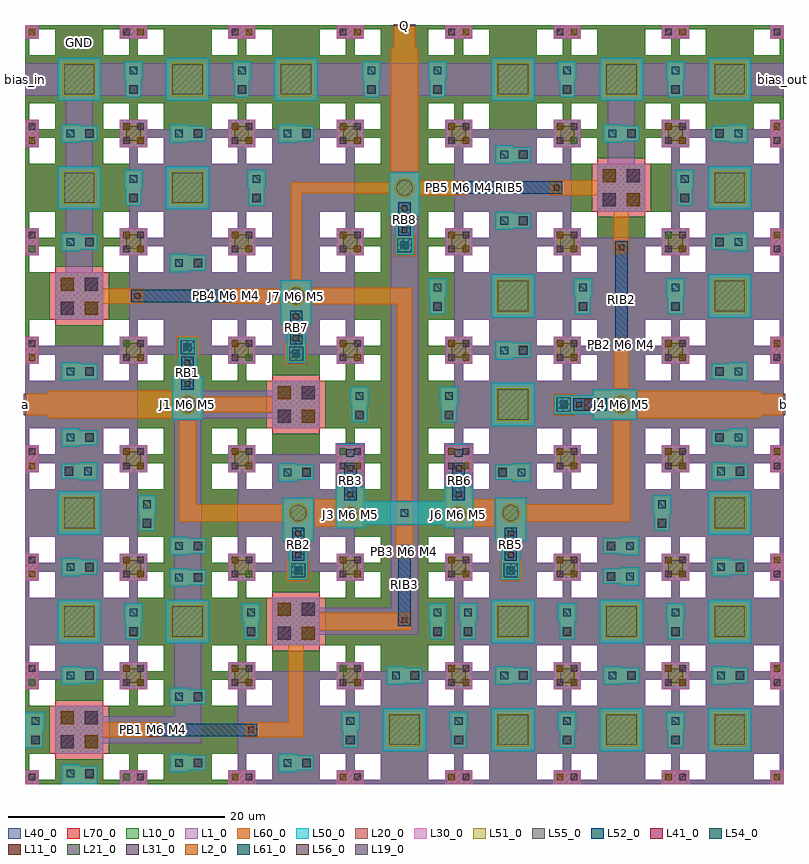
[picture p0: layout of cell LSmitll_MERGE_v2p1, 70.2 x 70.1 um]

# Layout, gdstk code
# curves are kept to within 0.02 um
from math import pi, radians
import gdstk
lib = gdstk.Library(unit=1e-6, precision=1e-09)
def R(c, l, rs):  # rectangles x0, y0, x1, y1
    for r in rs: c.add(gdstk.rectangle(r[:2], r[2:], *l))
def A(c, l, x, y, w, h, nx, ny, dx, dy):  # array of equal rectangles
    R(c, l, [(x+i*dx, y+j*dy, x+i*dx+w, y+j*dy+h) for i in range(nx) for j in range(ny)])
def P(c, l, *ps):  # polygons
    for p in ps: c.add(gdstk.Polygon(p, *l))
L1_0 = (1, 0)
L2_0 = (2, 0)
L10_0 = (10, 0)
L11_0 = (11, 0)
L19_0 = (19, 0)
L20_0 = (20, 0)
L21_0 = (21, 0)
L30_0 = (30, 0)
L31_0 = (31, 0)
L40_0 = (40, 0)
L41_0 = (41, 0)
L50_0 = (50, 0)
L51_0 = (51, 0)
L52_0 = (52, 0)
L54_0 = (54, 0)
L55_0 = (55, 0)
L56_0 = (56, 0)
L60_0 = (60, 0)
L61_0 = (61, 0)
L70_0 = (70, 0)

ls_tr_m0 = lib.new_cell('ls_tr_M0')
P(ls_tr_m0, L1_0, [(0,0),(0,10),(1.25,10),(1.25,8.75),(0.4,8.75),(0.4,1.25),(1.25,1.25),(1.25,0.4),(2.8,0.4),(2.8,2.8),(0.4,2.8),(0.4,7.2),(2.8,7.2),(2.8,9.6),(1.25,9.6),(1.25,10),(7.2,10),(7.2,0.4),(8.75,0.4),(8.75,1.25),(9.6,1.25),(9.6,2.8),(7.2,2.8),(7.2,7.2),(9.6,7.2),(9.6,8.75),(8.75,8.75),(8.75,9.6),(7.2,9.6),(7.2,10),(10,10),(10,0)])

ls_tr_bias_pillar_m0m6 = lib.new_cell('ls_tr_bias_pillar_M0M6')
R(ls_tr_bias_pillar_m0m6, L1_0, [(0,0,1.25,1.25), (8.75,0,10,1.25), (2.8,2.8,7.2,7.2), (0,8.75,1.25,10), (8.75,8.75,10,10)])
R(ls_tr_bias_pillar_m0m6, L2_0, [(5.5,3.3,6.7,4.5), (3.3,5.5,4.5,6.7)])
R(ls_tr_bias_pillar_m0m6, L10_0, [(0,0,1.25,1.25), (8.75,0,10,1.25), (2.8,2.8,7.2,7.2), (0,8.75,1.25,10), (8.75,8.75,10,10)])
P(ls_tr_bias_pillar_m0m6, L10_0, [(0,0),(0,10),(7.2,10),(7.2,7.7),(2.8,7.7),(2.8,9.6),(1.25,9.6),(1.25,8.75),(0.4,8.75),(0.4,7.2),(2.3,7.2),(2.3,2.8),(0.4,2.8),(0.4,1.25),(1.25,1.25),(1.25,0.4),(2.8,0.4),(2.8,2.3),(7.2,2.3),(7.2,0.4),(8.75,0.4),(8.75,1.25),(9.6,1.25),(9.6,2.8),(7.7,2.8),(7.7,7.2),(9.6,7.2),(9.6,8.75),(8.75,8.75),(8.75,9.6),(7.2,9.6),(7.2,10),(10,10),(10,0)])
R(ls_tr_bias_pillar_m0m6, L11_0, [(0.35,0.35,0.95,0.95), (3.3,3.3,4.5,4.5), (5.5,5.5,6.7,6.7), (9.05,9.05,9.65,9.65)])
R(ls_tr_bias_pillar_m0m6, L20_0, [(0,0,1.25,1.25), (8.75,0,10,1.25), (2.8,2.8,7.2,7.2), (0,8.75,1.25,10), (8.75,8.75,10,10)])
R(ls_tr_bias_pillar_m0m6, L21_0, [(9.05,0.35,9.65,0.95), (5.5,3.3,6.7,4.5), (3.3,5.5,4.5,6.7), (0.35,9.05,0.95,9.65)])
R(ls_tr_bias_pillar_m0m6, L30_0, [(0,0,1.25,1.25), (8.75,0,10,1.25), (2.8,2.8,7.2,7.2), (0,8.75,1.25,10), (8.75,8.75,10,10)])
R(ls_tr_bias_pillar_m0m6, L31_0, [(0.35,0.35,0.95,0.95), (3.3,3.3,4.5,4.5), (5.5,5.5,6.7,6.7), (9.05,9.05,9.65,9.65)])
R(ls_tr_bias_pillar_m0m6, L40_0, [(2.8,2.8,7.2,7.2)])
P(ls_tr_bias_pillar_m0m6, L40_0, [(0,0),(0,10),(7.2,10),(7.2,7.7),(2.8,7.7),(2.8,9.6),(1.25,9.6),(1.25,8.75),(0.4,8.75),(0.4,7.2),(2.3,7.2),(2.3,2.8),(0.4,2.8),(0.4,1.25),(1.25,1.25),(1.25,0.4),(2.8,0.4),(2.8,2.3),(7.2,2.3),(7.2,0.4),(8.75,0.4),(8.75,1.25),(9.6,1.25),(9.6,2.8),(7.7,2.8),(7.7,7.2),(9.6,7.2),(9.6,8.75),(8.75,8.75),(8.75,9.6),(7.2,9.6),(7.2,10),(10,10),(10,0)])
R(ls_tr_bias_pillar_m0m6, L41_0, [(5.5,3.3,6.7,4.5), (3.3,5.5,4.5,6.7)])
R(ls_tr_bias_pillar_m0m6, L50_0, [(2.8,2.8,7.2,7.2)])
R(ls_tr_bias_pillar_m0m6, L54_0, [(3.3,3.3,4.5,4.5), (5.5,5.5,6.7,6.7)])
R(ls_tr_bias_pillar_m0m6, L60_0, [(2.8,2.8,7.2,7.2)])
P(ls_tr_bias_pillar_m0m6, L70_0, [(0,0),(0,10),(1.25,10),(1.25,8.75),(0.4,8.75),(0.4,1.25),(1.25,1.25),(1.25,0.4),(2.8,0.4),(2.8,2.8),(0.4,2.8),(0.4,7.2),(2.8,7.2),(2.8,9.6),(1.25,9.6),(1.25,10),(7.2,10),(7.2,0.4),(8.75,0.4),(8.75,1.25),(9.6,1.25),(9.6,2.8),(7.2,2.8),(7.2,7.2),(9.6,7.2),(9.6,8.75),(8.75,8.75),(8.75,9.6),(7.2,9.6),(7.2,10),(10,10),(10,0)])

ls_tr_m7 = lib.new_cell('ls_tr_M7')
P(ls_tr_m7, L70_0, [(0,0),(0,10),(1.25,10),(1.25,8.75),(0.4,8.75),(0.4,1.25),(1.25,1.25),(1.25,0.4),(2.8,0.4),(2.8,2.8),(0.4,2.8),(0.4,7.2),(2.8,7.2),(2.8,9.6),(1.25,9.6),(1.25,10),(7.2,10),(7.2,0.4),(8.75,0.4),(8.75,1.25),(9.6,1.25),(9.6,2.8),(7.2,2.8),(7.2,7.2),(9.6,7.2),(9.6,8.75),(8.75,8.75),(8.75,9.6),(7.2,9.6),(7.2,10),(10,10),(10,0)])

ls_tr_u_m4_alt = lib.new_cell('ls_tr_u_M4_alt')
R(ls_tr_u_m4_alt, L1_0, [(0,0,1.25,1.25), (8.75,0,10,1.25), (0,8.75,1.25,10), (8.75,8.75,10,10)])
R(ls_tr_u_m4_alt, L2_0, [(9.05,0.35,9.65,0.95), (0.35,9.05,0.95,9.65)])
R(ls_tr_u_m4_alt, L10_0, [(0,0,1.25,1.25), (1.25,0,8.75,0.4), (8.75,0,10,1.25), (2.8,0.4,7.2,9.6), (0,1.25,0.4,8.75), (9.6,1.25,10,8.75), (0.4,2.8,2.8,7.2), (7.2,2.8,9.6,7.2), (0,8.75,1.25,10), (8.75,8.75,10,10), (1.25,9.6,8.75,10)])
R(ls_tr_u_m4_alt, L11_0, [(0.35,0.35,0.95,0.95), (9.05,9.05,9.65,9.65)])
R(ls_tr_u_m4_alt, L20_0, [(0,0,1.25,1.25), (8.75,0,10,1.25), (0,8.75,1.25,10), (8.75,8.75,10,10)])
R(ls_tr_u_m4_alt, L21_0, [(9.05,0.35,9.65,0.95), (0.35,9.05,0.95,9.65)])
R(ls_tr_u_m4_alt, L30_0, [(0,0,1.25,1.25), (8.75,0,10,1.25), (0,8.75,1.25,10), (8.75,8.75,10,10)])
R(ls_tr_u_m4_alt, L31_0, [(0.35,0.35,0.95,0.95), (9.05,9.05,9.65,9.65)])
P(ls_tr_u_m4_alt, L40_0, [(0,0),(0,10),(1.25,10),(1.25,8.75),(0.4,8.75),(0.4,1.25),(1.25,1.25),(1.25,0.4),(2.8,0.4),(2.8,2.8),(0.4,2.8),(0.4,7.2),(2.8,7.2),(2.8,9.6),(1.25,9.6),(1.25,10),(7.2,10),(7.2,0.4),(8.75,0.4),(8.75,1.25),(9.6,1.25),(9.6,2.8),(7.2,2.8),(7.2,7.2),(9.6,7.2),(9.6,8.75),(8.75,8.75),(8.75,9.6),(7.2,9.6),(7.2,10),(10,10),(10,0)])
ls_tr_u_m4_alt.add(gdstk.Reference(ls_tr_m7, (0,0)))

ls_fakejj_3umx3um = lib.new_cell('ls_FakeJJ_3umx3um')
R(ls_fakejj_3umx3um, L40_0, [(-2,-2,2,2)])
R(ls_fakejj_3umx3um, L50_0, [(-2,-2,2,2)])
R(ls_fakejj_3umx3um, L51_0, [(-1.5,-1.5,1.5,1.5)])
R(ls_fakejj_3umx3um, L55_0, [(-1.4,-1.4,1.4,1.4)])
R(ls_fakejj_3umx3um, L60_0, [(-1.75,-1.75,1.75,1.75)])

ls_conn_m5m6 = lib.new_cell('ls_conn_M5M6')
R(ls_conn_m5m6, L50_0, [(0,0,1.7,1.7)])
R(ls_conn_m5m6, L54_0, [(0.5,0.5,1.2,1.2)])
R(ls_conn_m5m6, L60_0, [(0.15,0.15,1.55,1.55)])

ls_conn_m5m6m7 = lib.new_cell('ls_conn_M5M6M7')
R(ls_conn_m5m6m7, L50_0, [(-0.5,-0.5,1.2,1.2)])
R(ls_conn_m5m6m7, L54_0, [(0,0,0.7,0.7)])
R(ls_conn_m5m6m7, L60_0, [(-0.65,-0.65,1.35,1.35)])
R(ls_conn_m5m6m7, L61_0, [(-0.3,-0.3,1,1)])
R(ls_conn_m5m6m7, L70_0, [(-0.65,-0.65,1.35,1.35)])

ls_jj_250_sg = lib.new_cell('ls_jj_250_sg')
R(ls_jj_250_sg, L41_0, [(-0.5,2.4,0.5,3.4)])
R(ls_jj_250_sg, L50_0, [(-1.425,-1.425,1.425,2.625), (-0.875,2.625,0.875,6.175)])
P(ls_jj_250_sg, L51_0, [(0,-0.91),(-0.18,-0.895),(-0.35,-0.84),(-0.645,-0.645),(-0.84,-0.35),(-0.91,0),(-0.895,0.18),(-0.84,0.35),(-0.645,0.645),(-0.35,0.84),(-0.18,0.895),(0,0.91),(0.18,0.895),(0.35,0.84),(0.645,0.645),(0.84,0.35),(0.895,0.18),(0.91,0),(0.84,-0.35),(0.645,-0.645),(0.35,-0.84),(0.18,-0.895)])
R(ls_jj_250_sg, L52_0, [(-0.575,1.35,0.575,4.425)])
R(ls_jj_250_sg, L54_0, [(-0.35,4.95,0.35,5.65)])
P(ls_jj_250_sg, L55_0, [(0,-0.76),(-0.15,-0.75),(-0.29,-0.7),(-0.54,-0.54),(-0.7,-0.29),(-0.75,-0.15),(-0.76,0),(-0.75,0.15),(-0.7,0.29),(-0.54,0.54),(-0.29,0.7),(-0.15,0.75),(0,0.76),(0.15,0.75),(0.29,0.7),(0.54,0.54),(0.7,0.29),(0.75,0.15),(0.76,0),(0.75,-0.15),(0.7,-0.29),(0.54,-0.54),(0.29,-0.7),(0.15,-0.75)])
R(ls_jj_250_sg, L56_0, [(-0.26,1.64,0.26,2.16), (-0.26,3.63,0.26,4.15)])
R(ls_jj_250_sg, L60_0, [(-1.275,-1.275,1.275,2.525), (-0.725,3.25,0.725,6.025)])
ls_jj_250_sg.add(gdstk.Reference(ls_conn_m5m6m7, (-0.35,4.95)))

ls_ib_254 = lib.new_cell('ls_ib_254')
R(ls_ib_254, L52_0, [(-0.575,0,0.575,7.4)])
R(ls_ib_254, L56_0, [(-0.26,0.29,0.26,0.81), (-0.26,6.61,0.26,7.13)])
R(ls_ib_254, L60_0, [(-0.625,-0.1,0.625,1.175), (-0.625,6.225,0.625,7.5)])

ls_conn_m4m5m6m7 = lib.new_cell('ls_conn_M4M5M6M7')
R(ls_conn_m4m5m6m7, L40_0, [(0,0,1.4,1.4)])
R(ls_conn_m4m5m6m7, L41_0, [(0.3,0.3,1.1,1.1)])
P(ls_conn_m4m5m6m7, L50_0, [(1.6,-0.15),(1.6,0),(0,0),(0,1.4),(1.6,1.4),(1.6,1.55),(3.3,1.55),(3.3,-0.15)])
R(ls_conn_m4m5m6m7, L54_0, [(2.1,0.35,2.8,1.05)])
R(ls_conn_m4m5m6m7, L60_0, [(0,0,3.15,1.4)])
R(ls_conn_m4m5m6m7, L61_0, [(0.35,0.35,1.05,1.05)])
R(ls_conn_m4m5m6m7, L70_0, [(0,0,1.4,1.4)])

ls_ib_175 = lib.new_cell('ls_ib_175')
R(ls_ib_175, L52_0, [(-0.575,0,0.575,10.05)])
R(ls_ib_175, L56_0, [(-0.26,0.29,0.26,0.81), (-0.26,9.26,0.26,9.78)])
R(ls_ib_175, L60_0, [(-0.625,-0.1,0.625,1.175), (-0.625,8.875,0.625,10.15)])

ls_fakejj_1p5x1p5um = lib.new_cell('ls_FakeJJ_1p5x1p5um')
R(ls_fakejj_1p5x1p5um, L40_0, [(-1.25,-1.25,1.25,1.25)])
R(ls_fakejj_1p5x1p5um, L50_0, [(-1.25,-1.25,1.25,1.25)])
R(ls_fakejj_1p5x1p5um, L51_0, [(-0.75,-0.75,0.75,0.75)])
R(ls_fakejj_1p5x1p5um, L55_0, [(-0.65,-0.65,0.65,0.65)])
R(ls_fakejj_1p5x1p5um, L60_0, [(-1,-1,1,1)])

ls_ib_192 = lib.new_cell('ls_ib_192')
R(ls_ib_192, L52_0, [(-0.575,0,0.575,9.3)])
R(ls_ib_192, L56_0, [(-0.26,0.29,0.26,0.81), (-0.26,8.51,0.26,9.03)])
R(ls_ib_192, L60_0, [(-0.625,-0.1,0.625,1.175), (-0.625,8.125,0.625,9.4)])

ls_jj_253_sg = lib.new_cell('ls_jj_253_sg')
R(ls_jj_253_sg, L41_0, [(-0.5,2.425,0.5,3.425)])
R(ls_jj_253_sg, L50_0, [(-1.45,-1.45,1.45,2.6), (-0.875,2.6,0.875,6.175)])
P(ls_jj_253_sg, L51_0, [(0,-0.915),(-0.35,-0.845),(-0.65,-0.645),(-0.845,-0.35),(-0.9,-0.18),(-0.915,0),(-0.9,0.18),(-0.845,0.35),(-0.65,0.65),(-0.51,0.765),(-0.35,0.845),(-0.18,0.9),(0,0.915),(0.18,0.9),(0.35,0.845),(0.51,0.765),(0.65,0.65),(0.845,0.35),(0.9,0.18),(0.915,0),(0.9,-0.18),(0.845,-0.35),(0.65,-0.645),(0.35,-0.845)])
R(ls_jj_253_sg, L52_0, [(-0.55,1.35,0.55,4.425)])
R(ls_jj_253_sg, L54_0, [(-0.35,4.95,0.35,5.65)])
P(ls_jj_253_sg, L55_0, [(-0.15,-0.77),(-0.43,-0.64),(-0.64,-0.43),(-0.75,-0.15),(-0.75,0.15),(-0.64,0.42),(-0.43,0.63),(-0.15,0.75),(0.15,0.75),(0.43,0.63),(0.64,0.42),(0.75,0.15),(0.75,-0.15),(0.64,-0.43),(0.43,-0.64),(0.15,-0.77)])
R(ls_jj_253_sg, L56_0, [(-0.29,1.62,0.29,2.14), (-0.29,3.63,0.29,4.15)])
R(ls_jj_253_sg, L60_0, [(-1.3,-1.3,1.3,2.5), (-0.725,3.25,0.725,6.025)])
ls_jj_253_sg.add(gdstk.Reference(ls_conn_m5m6m7, (-0.35,4.95)))

ls_jj_192_s = lib.new_cell('ls_jj_192_s')
R(ls_jj_192_s, L50_0, [(-1.325,-1.325,1.325,2.525), (-0.875,2.525,0.875,6.5)])
P(ls_jj_192_s, L51_0, [(0,-0.8),(-0.305,-0.74),(-0.565,-0.565),(-0.74,-0.305),(-0.8,0),(-0.74,0.31),(-0.565,0.57),(-0.305,0.74),(0,0.805),(0.305,0.74),(0.565,0.57),(0.74,0.31),(0.8,0),(0.74,-0.305),(0.565,-0.565),(0.305,-0.74)])
R(ls_jj_192_s, L52_0, [(-0.575,1.25,0.575,4.75)])
R(ls_jj_192_s, L54_0, [(-0.35,5.275,0.35,5.975)])
P(ls_jj_192_s, L55_0, [(0,-0.65),(-0.25,-0.6),(-0.46,-0.46),(-0.6,-0.25),(-0.65,0),(-0.6,0.25),(-0.46,0.46),(-0.25,0.6),(0,0.65),(0.25,0.6),(0.46,0.46),(0.6,0.25),(0.65,0),(0.6,-0.25),(0.46,-0.46),(0.25,-0.6)])
R(ls_jj_192_s, L56_0, [(-0.26,1.53,0.26,2.05), (-0.26,3.97,0.26,4.49)])
R(ls_jj_192_s, L60_0, [(-1.175,-1.175,1.175,2.425), (-0.725,3.6,0.725,6.35)])

lsmitll_merge_v2p1 = lib.new_cell('LSmitll_MERGE_v2p1')
A(lsmitll_merge_v2p1, L1_0, 10, 11.25, 0.4, 7.5, 1, 3, 0, 10)
A(lsmitll_merge_v2p1, L1_0, 39.6, 11.25, 0.4, 7.5, 1, 5, 0, 10)
A(lsmitll_merge_v2p1, L1_0, 21.25, 60, 7.5, 0.4, 3, 1, 20, 0)
R(lsmitll_merge_v2p1, L1_0, [(19.6,1.25,20,8.75), (1.25,9.6,8.75,10), (21.25,10,28.75,10.4), (31.25,10,38.75,10.4), (21.25,19.6,28.75,20), (19.6,21.25,20,28.75), (30,21.25,30.4,28.75), (28.65,27.2,31.35,31.45), (38.65,27.2,41.35,31.45), (21.25,30,28.75,30.4), (11.25,39.6,18.75,40), (21.25,39.6,28.75,40), (1.25,40,8.75,40.4), (9.6,41.25,10,48.75), (30,41.25,30.4,48.75), (51.25,50,58.75,50.4), (9.6,51.25,10,58.75), (30,51.25,30.4,58.75), (50,51.25,50.4,58.75), (59.6,51.25,60,58.75), (11.25,60,18.75,60.4)])
R(lsmitll_merge_v2p1, L10_0, [(28.65,27.2,31.35,31.45), (38.65,27.2,41.35,31.45)])
R(lsmitll_merge_v2p1, L19_0, [(11.62,4.74,12.14,5.26), (34.74,21.19,35.26,21.71), (54.74,40.27,55.26,40.79), (18.31,44.74,18.83,45.26), (39.79,54.74,40.31,55.26)])
R(lsmitll_merge_v2p1, L40_0, [(28.65,27.2,31.35,31.45), (38.65,27.2,41.35,31.45)])
R(lsmitll_merge_v2p1, L50_0, [(3.35,0,6.65,0.25), (0,3.35,0.25,6.65)])
R(lsmitll_merge_v2p1, L60_0, [(3.5,0,6.65,0.25), (0,3.35,0.25,6.5)])
P(lsmitll_merge_v2p1, L60_0, [(2.25,33.75),(2,34),(2,36),(2.25,36.25)],
  [(67.75,33.75),(67.75,36.25),(68,36),(68,34)],
  [(33.75,67.75),(34,68),(36,68),(36.25,67.75)])
R(lsmitll_merge_v2p1, L70_0, [(28.65,27.2,31.35,31.45), (38.65,27.2,41.35,31.45)])
lsmitll_merge_v2p1.add(gdstk.FlexPath([(31.3,25),(35.85,25)], 2.2, ends="flush", simple_path=True, layer=50, datatype=0))  # L50_0
lsmitll_merge_v2p1.add(gdstk.FlexPath([(38.7,25),(34.15,25)], 2.2, ends="flush", simple_path=True, layer=50, datatype=0))  # L50_0
lsmitll_merge_v2p1.add(gdstk.FlexPath([(5,5),(12.55,5)], 1.4, ends="flush", simple_path=True, layer=60, datatype=0))  # L60_0
lsmitll_merge_v2p1.add(gdstk.FlexPath([(25,15),(25,5),(20.2,5)], 1.4, ends="flush", simple_path=True, layer=60, datatype=0))  # L60_0
lsmitll_merge_v2p1.add(gdstk.FlexPath([(25,55.5),(25,46.3)], 1, ends="flush", simple_path=True, layer=60, datatype=0))  # L60_0
lsmitll_merge_v2p1.add(gdstk.FlexPath([(33.725,55),(24.7,55)], 1, ends="flush", simple_path=True, layer=60, datatype=0))  # L60_0
lsmitll_merge_v2p1.add(gdstk.FlexPath([(35,45.7),(35,24.3)], 1.45, ends="flush", simple_path=True, layer=60, datatype=0))  # L60_0
lsmitll_merge_v2p1.add(gdstk.FlexPath([(26.3,45),(35.725,45)], 1.5, ends="flush", simple_path=True, layer=60, datatype=0))  # L60_0
lsmitll_merge_v2p1.add(gdstk.FlexPath([(17.925,45),(23.7,45)], 1.4, ends="flush", simple_path=True, layer=60, datatype=0))  # L60_0
lsmitll_merge_v2p1.add(gdstk.FlexPath([(5,45),(10.975,45)], 1.4, ends="flush", simple_path=True, layer=60, datatype=0))  # L60_0
lsmitll_merge_v2p1.add(gdstk.FlexPath([(48.375,55),(55,55)], 1.4, ends="flush", simple_path=True, layer=60, datatype=0))  # L60_0
lsmitll_merge_v2p1.add(gdstk.FlexPath([(36.25,55),(40.675,55)], 1.4, ends="flush", simple_path=True, layer=60, datatype=0))  # L60_0
lsmitll_merge_v2p1.add(gdstk.FlexPath([(16.25,35),(25,35)], 1.4, ends="flush", simple_path=True, layer=60, datatype=0))  # L60_0
lsmitll_merge_v2p1.add(gdstk.FlexPath([(55,55),(55,48.875)], 1.4, ends="flush", simple_path=True, layer=60, datatype=0))  # L60_0
lsmitll_merge_v2p1.add(gdstk.FlexPath([(25,15),(35.625,15)], 1.6, ends="flush", simple_path=True, layer=60, datatype=0))  # L60_0
lsmitll_merge_v2p1.add(gdstk.FlexPath([(55,36.25),(55,41.175)], 1.4, ends="flush", simple_path=True, layer=60, datatype=0))  # L60_0
lsmitll_merge_v2p1.add(gdstk.FlexPath([(35,68),(35,70)], 2, ends="flush", simple_path=True, layer=60, datatype=0))  # L60_0
lsmitll_merge_v2p1.add(gdstk.FlexPath([(35,25.7),(35,20.825)], 1.6, ends="flush", simple_path=True, layer=60, datatype=0))  # L60_0
lsmitll_merge_v2p1.add(gdstk.FlexPath([(2,35),(0,35)], 2, ends="flush", simple_path=True, layer=60, datatype=0))  # L60_0
lsmitll_merge_v2p1.add(gdstk.FlexPath([(14.2,25),(24.05,25)], 1.6, ends="flush", simple_path=True, layer=60, datatype=0))  # L60_0
lsmitll_merge_v2p1.add(gdstk.FlexPath([(15,33.75),(15,24.6)], 1.6, ends="flush", simple_path=True, layer=60, datatype=0))  # L60_0
lsmitll_merge_v2p1.add(gdstk.FlexPath([(28.85,25),(26.25,25)], 2.5, ends="flush", simple_path=True, layer=60, datatype=0))  # L60_0
lsmitll_merge_v2p1.add(gdstk.FlexPath([(41.15,25),(43.75,25)], 2.5, ends="flush", simple_path=True, layer=60, datatype=0))  # L60_0
lsmitll_merge_v2p1.add(gdstk.FlexPath([(55,33.75),(55,24.6)], 1.6, ends="flush", simple_path=True, layer=60, datatype=0))  # L60_0
lsmitll_merge_v2p1.add(gdstk.FlexPath([(55.8,25),(45.95,25)], 1.6, ends="flush", simple_path=True, layer=60, datatype=0))  # L60_0
lsmitll_merge_v2p1.add(gdstk.FlexPath([(68,35),(70,35)], 2, ends="flush", simple_path=True, layer=60, datatype=0))  # L60_0
lsmitll_merge_v2p1.add(gdstk.FlexPath([(13.9,35),(2.25,35)], 2.5, ends="flush", simple_path=True, layer=60, datatype=0))  # L60_0
lsmitll_merge_v2p1.add(gdstk.FlexPath([(67.75,35),(56.25,35)], 2.5, ends="flush", simple_path=True, layer=60, datatype=0))  # L60_0
lsmitll_merge_v2p1.add(gdstk.FlexPath([(35,56),(35,67.75)], 2.5, ends="flush", simple_path=True, layer=60, datatype=0))  # L60_0
lsmitll_merge_v2p1.add(gdstk.FlexPath([(25,35),(15,35),(15,5),(5,5)], 2.5, ends="flush", simple_path=True, layer=1, datatype=0))  # L1_0
lsmitll_merge_v2p1.add(gdstk.FlexPath([(35,65),(35,15),(25,15)], 2.5, ends="flush", simple_path=True, layer=1, datatype=0))  # L1_0
lsmitll_merge_v2p1.add(gdstk.FlexPath([(55,55),(55,65)], 2.5, ends="flush", simple_path=True, layer=1, datatype=0))  # L1_0
lsmitll_merge_v2p1.add(gdstk.FlexPath([(5,45),(5,65)], 2.5, ends="flush", simple_path=True, layer=1, datatype=0))  # L1_0
lsmitll_merge_v2p1.add(gdstk.FlexPath([(0,65),(70,65)], 3, ends="flush", simple_path=True, layer=1, datatype=0))  # L1_0
lsmitll_merge_v2p1.add(gdstk.FlexPath([(34,70),(36,70)], 0.2, ends="flush", simple_path=True, layer=19, datatype=0))  # L19_0
lsmitll_merge_v2p1.add(gdstk.FlexPath([(70,36),(70,34)], 0.2, ends="flush", simple_path=True, layer=19, datatype=0))  # L19_0
lsmitll_merge_v2p1.add(gdstk.FlexPath([(0,34),(0,36)], 0.2, ends="flush", simple_path=True, layer=19, datatype=0))  # L19_0
lsmitll_merge_v2p1.add(gdstk.Reference(ls_tr_m0, (60,30)))
lsmitll_merge_v2p1.add(gdstk.Reference(ls_tr_m0, (30,0)))
lsmitll_merge_v2p1.add(gdstk.Reference(ls_tr_m0, (0,30)))
lsmitll_merge_v2p1.add(gdstk.Reference(ls_tr_m0, (50,30)))
lsmitll_merge_v2p1.add(gdstk.Reference(ls_tr_m0, (40,30)))
lsmitll_merge_v2p1.add(gdstk.Reference(ls_tr_bias_pillar_m0m6, (20,30)))
lsmitll_merge_v2p1.add(gdstk.Reference(ls_tr_u_m4_alt, (30,0)))
lsmitll_merge_v2p1.add(gdstk.Reference(ls_fakejj_3umx3um, (45,35)))
lsmitll_merge_v2p1.add(gdstk.Reference(ls_conn_m5m6, (34.15,24.15)))
lsmitll_merge_v2p1.add(gdstk.Reference(ls_jj_250_sg, (35,55), x_reflection=True))
lsmitll_merge_v2p1.add(gdstk.Reference(ls_ib_254, (35,22), rotation=pi))
lsmitll_merge_v2p1.add(gdstk.Reference(ls_jj_250_sg, (15,35)))
lsmitll_merge_v2p1.add(gdstk.Reference(ls_tr_u_m4_alt, (0,30)))
lsmitll_merge_v2p1.add(gdstk.Reference(ls_tr_u_m4_alt, (10,30)))
lsmitll_merge_v2p1.add(gdstk.Reference(ls_tr_u_m4_alt, (30,20)))
lsmitll_merge_v2p1.add(gdstk.Reference(ls_tr_u_m4_alt, (30,30)))
lsmitll_merge_v2p1.add(gdstk.Reference(ls_tr_u_m4_alt, (30,40)))
lsmitll_merge_v2p1.add(gdstk.Reference(ls_tr_u_m4_alt, (30,50)))
lsmitll_merge_v2p1.add(gdstk.Reference(ls_tr_u_m4_alt, (30,60)))
lsmitll_merge_v2p1.add(gdstk.Reference(ls_tr_u_m4_alt, (40,30)))
lsmitll_merge_v2p1.add(gdstk.Reference(ls_tr_u_m4_alt, (50,30)))
lsmitll_merge_v2p1.add(gdstk.Reference(ls_tr_u_m4_alt, (60,30)))
lsmitll_merge_v2p1.add(gdstk.Reference(ls_tr_u_m4_alt, (30,10)))
lsmitll_merge_v2p1.add(gdstk.Reference(ls_jj_250_sg, (55,35), rotation=3*pi/2, x_reflection=True))
lsmitll_merge_v2p1.add(gdstk.Reference(ls_conn_m4m5m6m7, (39.8,33.35), rotation=pi/2))
lsmitll_merge_v2p1.add(gdstk.Reference(ls_conn_m4m5m6m7, (31.55,33.35), rotation=pi/2))
lsmitll_merge_v2p1.add(gdstk.Reference(ls_conn_m4m5m6m7, (36.65,9.3), rotation=pi, x_reflection=True))
lsmitll_merge_v2p1.add(gdstk.Reference(ls_fakejj_3umx3um, (35,5)))
lsmitll_merge_v2p1.add(gdstk.Reference(ls_ib_175, (55,50.05), rotation=pi))
lsmitll_merge_v2p1.add(gdstk.Reference(ls_tr_m0, (60,50)))
lsmitll_merge_v2p1.add(gdstk.Reference(ls_tr_m0, (40,40)))
lsmitll_merge_v2p1.add(gdstk.Reference(ls_fakejj_3umx3um, (65,65)))
lsmitll_merge_v2p1.add(gdstk.Reference(ls_fakejj_3umx3um, (55,65)))
lsmitll_merge_v2p1.add(gdstk.Reference(ls_fakejj_1p5x1p5um, (60,40)))
lsmitll_merge_v2p1.add(gdstk.Reference(ls_fakejj_1p5x1p5um, (50,40)))
lsmitll_merge_v2p1.add(gdstk.Reference(ls_fakejj_1p5x1p5um, (40,40)))
lsmitll_merge_v2p1.add(gdstk.Reference(ls_fakejj_1p5x1p5um, (40,50)))
lsmitll_merge_v2p1.add(gdstk.Reference(ls_tr_u_m4_alt, (40,60)))
lsmitll_merge_v2p1.add(gdstk.Reference(ls_tr_u_m4_alt, (40,50)))
lsmitll_merge_v2p1.add(gdstk.Reference(ls_tr_u_m4_alt, (40,40)))
lsmitll_merge_v2p1.add(gdstk.Reference(ls_fakejj_1p5x1p5um, (50,50)))
lsmitll_merge_v2p1.add(gdstk.Reference(ls_fakejj_1p5x1p5um, (60,50)))
lsmitll_merge_v2p1.add(gdstk.Reference(ls_tr_u_m4_alt, (50,40)))
lsmitll_merge_v2p1.add(gdstk.Reference(ls_tr_u_m4_alt, (50,60)))
lsmitll_merge_v2p1.add(gdstk.Reference(ls_tr_u_m4_alt, (60,60)))
lsmitll_merge_v2p1.add(gdstk.Reference(ls_tr_u_m4_alt, (60,40)))
lsmitll_merge_v2p1.add(gdstk.Reference(ls_fakejj_1p5x1p5um, (60,60)))
lsmitll_merge_v2p1.add(gdstk.Reference(ls_tr_bias_pillar_m0m6, (50,50)))
lsmitll_merge_v2p1.add(gdstk.Reference(ls_fakejj_1p5x1p5um, (50,60)))
lsmitll_merge_v2p1.add(gdstk.Reference(ls_tr_u_m4_alt, (60,50)))
lsmitll_merge_v2p1.add(gdstk.Reference(ls_fakejj_1p5x1p5um, (40,60)))
lsmitll_merge_v2p1.add(gdstk.Reference(ls_conn_m4m5m6m7, (46.65,57.35), rotation=pi, x_reflection=True))
lsmitll_merge_v2p1.add(gdstk.Reference(ls_conn_m4m5m6m7, (63.35,37.35)))
lsmitll_merge_v2p1.add(gdstk.Reference(ls_tr_m0, (50,40)))
lsmitll_merge_v2p1.add(gdstk.Reference(ls_ib_175, (39.5,55), rotation=3*pi/2))
lsmitll_merge_v2p1.add(gdstk.Reference(ls_conn_m4m5m6m7, (38.75,43.35), rotation=pi/2))
lsmitll_merge_v2p1.add(gdstk.Reference(ls_conn_m4m5m6m7, (52.15,43.35), rotation=pi/2))
lsmitll_merge_v2p1.add(gdstk.Reference(ls_conn_m4m5m6m7, (60.7,43.35), rotation=pi/2))
lsmitll_merge_v2p1.add(gdstk.Reference(ls_conn_m4m5m6m7, (61.55,53.35), rotation=pi/2))
lsmitll_merge_v2p1.add(gdstk.Reference(ls_conn_m4m5m6m7, (63.35,59.3)))
lsmitll_merge_v2p1.add(gdstk.Reference(ls_conn_m4m5m6m7, (56.65,59.3), rotation=pi, x_reflection=True))
lsmitll_merge_v2p1.add(gdstk.Reference(ls_conn_m4m5m6m7, (38.75,63.35), rotation=pi/2))
lsmitll_merge_v2p1.add(gdstk.Reference(ls_conn_m4m5m6m7, (50.7,63.35), rotation=pi/2))
lsmitll_merge_v2p1.add(gdstk.Reference(ls_conn_m4m5m6m7, (60.7,63.35), rotation=pi/2))
lsmitll_merge_v2p1.add(gdstk.Reference(ls_tr_m0, (40,50)))
lsmitll_merge_v2p1.add(gdstk.Reference(ls_tr_m0, (60,40)))
lsmitll_merge_v2p1.add(gdstk.Reference(ls_conn_m4m5m6m7, (46.65,51.25), rotation=pi, x_reflection=True))
lsmitll_merge_v2p1.add(gdstk.Reference(ls_conn_m4m5m6m7, (46.65,39.3), rotation=pi, x_reflection=True))
lsmitll_merge_v2p1.add(gdstk.Reference(ls_fakejj_3umx3um, (45,65)))
lsmitll_merge_v2p1.add(gdstk.Reference(ls_fakejj_3umx3um, (65,55)))
lsmitll_merge_v2p1.add(gdstk.Reference(ls_fakejj_3umx3um, (65,45)))
lsmitll_merge_v2p1.add(gdstk.Reference(ls_fakejj_3umx3um, (45,45)))
lsmitll_merge_v2p1.add(gdstk.Reference(ls_conn_m4m5m6m7, (63.35,49.3)))
lsmitll_merge_v2p1.add(gdstk.Reference(ls_fakejj_1p5x1p5um, (10,40)))
lsmitll_merge_v2p1.add(gdstk.Reference(ls_fakejj_1p5x1p5um, (10,50)))
lsmitll_merge_v2p1.add(gdstk.Reference(ls_tr_u_m4_alt, (20,40)))
lsmitll_merge_v2p1.add(gdstk.Reference(ls_tr_u_m4_alt, (0,60)))
lsmitll_merge_v2p1.add(gdstk.Reference(ls_tr_u_m4_alt, (0,50)))
lsmitll_merge_v2p1.add(gdstk.Reference(ls_conn_m4m5m6m7, (6.65,37.35), rotation=pi, x_reflection=True))
lsmitll_merge_v2p1.add(gdstk.Reference(ls_conn_m4m5m6m7, (16.65,59.3), rotation=pi, x_reflection=True))
lsmitll_merge_v2p1.add(gdstk.Reference(ls_fakejj_1p5x1p5um, (20,50)))
lsmitll_merge_v2p1.add(gdstk.Reference(ls_fakejj_1p5x1p5um, (30,50)))
lsmitll_merge_v2p1.add(gdstk.Reference(ls_tr_u_m4_alt, (10,40)))
lsmitll_merge_v2p1.add(gdstk.Reference(ls_tr_u_m4_alt, (10,60)))
lsmitll_merge_v2p1.add(gdstk.Reference(ls_tr_u_m4_alt, (20,60)))
lsmitll_merge_v2p1.add(gdstk.Reference(ls_tr_u_m4_alt, (20,50)))
lsmitll_merge_v2p1.add(gdstk.Reference(ls_tr_m0, (10,50)))
lsmitll_merge_v2p1.add(gdstk.Reference(ls_tr_m0, (20,40)))
lsmitll_merge_v2p1.add(gdstk.Reference(ls_fakejj_3umx3um, (25,65)))
lsmitll_merge_v2p1.add(gdstk.Reference(ls_conn_m4m5m6m7, (22.05,53.35), rotation=pi/2))
lsmitll_merge_v2p1.add(gdstk.Reference(ls_conn_m4m5m6m7, (6.65,49.3), rotation=pi, x_reflection=True))
lsmitll_merge_v2p1.add(gdstk.Reference(ls_conn_m4m5m6m7, (6.65,59.3), rotation=pi, x_reflection=True))
lsmitll_merge_v2p1.add(gdstk.Reference(ls_conn_m4m5m6m7, (26.65,59.3), rotation=pi, x_reflection=True))
lsmitll_merge_v2p1.add(gdstk.Reference(ls_fakejj_3umx3um, (15,65)))
lsmitll_merge_v2p1.add(gdstk.Reference(ls_conn_m4m5m6m7, (10.7,63.35), rotation=pi/2))
lsmitll_merge_v2p1.add(gdstk.Reference(ls_conn_m4m5m6m7, (20.7,63.35), rotation=pi/2))
lsmitll_merge_v2p1.add(gdstk.Reference(ls_conn_m4m5m6m7, (32.65,63.35), rotation=pi/2))
lsmitll_merge_v2p1.add(gdstk.Reference(ls_fakejj_3umx3um, (5,65)))
lsmitll_merge_v2p1.add(gdstk.Reference(ls_tr_m0, (10,40)))
lsmitll_merge_v2p1.add(gdstk.Reference(ls_fakejj_1p5x1p5um, (30,60)))
lsmitll_merge_v2p1.add(gdstk.Reference(ls_fakejj_1p5x1p5um, (20,60)))
lsmitll_merge_v2p1.add(gdstk.Reference(ls_fakejj_1p5x1p5um, (10,60)))
lsmitll_merge_v2p1.add(gdstk.Reference(ls_tr_u_m4_alt, (10,50)))
lsmitll_merge_v2p1.add(gdstk.Reference(ls_tr_m0, (20,50)))
lsmitll_merge_v2p1.add(gdstk.Reference(ls_ib_192, (9.8,45), rotation=3*pi/2))
lsmitll_merge_v2p1.add(gdstk.Reference(ls_fakejj_3umx3um, (5,55)))
lsmitll_merge_v2p1.add(gdstk.Reference(ls_conn_m4m5m6m7, (16.65,47.35), rotation=pi, x_reflection=True))
lsmitll_merge_v2p1.add(gdstk.Reference(ls_fakejj_1p5x1p5um, (30,40)))
lsmitll_merge_v2p1.add(gdstk.Reference(ls_jj_253_sg, (25,45), rotation=pi))
lsmitll_merge_v2p1.add(gdstk.Reference(ls_fakejj_1p5x1p5um, (20,40)))
lsmitll_merge_v2p1.add(gdstk.Reference(ls_fakejj_3umx3um, (15,55)))
lsmitll_merge_v2p1.add(gdstk.Reference(ls_conn_m4m5m6m7, (10.7,53.35), rotation=pi/2))
lsmitll_merge_v2p1.add(gdstk.Reference(ls_tr_bias_pillar_m0m6, (0,40)))
lsmitll_merge_v2p1.add(gdstk.Reference(ls_ib_175, (21.4,5), rotation=pi/2))
lsmitll_merge_v2p1.add(gdstk.Reference(ls_fakejj_1p5x1p5um, (20,30)))
lsmitll_merge_v2p1.add(gdstk.Reference(ls_fakejj_3umx3um, (5,25)))
lsmitll_merge_v2p1.add(gdstk.Reference(ls_tr_m0, (20,0)))
lsmitll_merge_v2p1.add(gdstk.Reference(ls_tr_m0, (0,20)))
lsmitll_merge_v2p1.add(gdstk.Reference(ls_tr_u_m4_alt, (0,20)))
lsmitll_merge_v2p1.add(gdstk.Reference(ls_tr_u_m4_alt, (0,10)))
lsmitll_merge_v2p1.add(gdstk.Reference(ls_tr_u_m4_alt, (10,10)))
lsmitll_merge_v2p1.add(gdstk.Reference(ls_conn_m4m5m6m7, (6.65,19.3), rotation=pi, x_reflection=True))
lsmitll_merge_v2p1.add(gdstk.Reference(ls_conn_m4m5m6m7, (3.35,28.15)))
lsmitll_merge_v2p1.add(gdstk.Reference(ls_conn_m4m5m6m7, (16.65,18.35), rotation=pi, x_reflection=True))
lsmitll_merge_v2p1.add(gdstk.Reference(ls_conn_m4m5m6m7, (10.7,13.35), rotation=pi/2))
lsmitll_merge_v2p1.add(gdstk.Reference(ls_tr_u_m4_alt, (10,20)))
lsmitll_merge_v2p1.add(gdstk.Reference(ls_tr_bias_pillar_m0m6, (20,10)))
lsmitll_merge_v2p1.add(gdstk.Reference(ls_tr_bias_pillar_m0m6, (0,0)))
lsmitll_merge_v2p1.add(gdstk.Reference(ls_tr_m0, (0,10)))
lsmitll_merge_v2p1.add(gdstk.Reference(ls_conn_m4m5m6m7, (11.95,23.35), rotation=pi/2))
lsmitll_merge_v2p1.add(gdstk.Reference(ls_tr_m0, (20,20)))
lsmitll_merge_v2p1.add(gdstk.Reference(ls_fakejj_1p5x1p5um, (10,10)))
lsmitll_merge_v2p1.add(gdstk.Reference(ls_fakejj_1p5x1p5um, (20,10)))
lsmitll_merge_v2p1.add(gdstk.Reference(ls_fakejj_1p5x1p5um, (30,10)))
lsmitll_merge_v2p1.add(gdstk.Reference(ls_conn_m4m5m6m7, (30.7,3.35), rotation=pi/2))
lsmitll_merge_v2p1.add(gdstk.Reference(ls_fakejj_3umx3um, (15,15)))
lsmitll_merge_v2p1.add(gdstk.Reference(ls_conn_m4m5m6m7, (16.65,7.35), rotation=pi, x_reflection=True))
lsmitll_merge_v2p1.add(gdstk.Reference(ls_conn_m4m5m6m7, (6.65,9.3), rotation=pi, x_reflection=True))
lsmitll_merge_v2p1.add(gdstk.Reference(ls_tr_u_m4_alt, (20,20)))
lsmitll_merge_v2p1.add(gdstk.Reference(ls_conn_m4m5m6m7, (6.65,31.25), rotation=pi, x_reflection=True))
lsmitll_merge_v2p1.add(gdstk.Reference(ls_tr_u_m4_alt, (10,0)))
lsmitll_merge_v2p1.add(gdstk.Reference(ls_tr_u_m4_alt, (20,0)))
lsmitll_merge_v2p1.add(gdstk.Reference(ls_fakejj_3umx3um, (5,15)))
lsmitll_merge_v2p1.add(gdstk.Reference(ls_fakejj_1p5x1p5um, (30,20)))
lsmitll_merge_v2p1.add(gdstk.Reference(ls_fakejj_1p5x1p5um, (20,20)))
lsmitll_merge_v2p1.add(gdstk.Reference(ls_conn_m4m5m6m7, (16.65,21.25), rotation=pi, x_reflection=True))
lsmitll_merge_v2p1.add(gdstk.Reference(ls_conn_m4m5m6m7, (16.65,1.25), rotation=pi, x_reflection=True))
lsmitll_merge_v2p1.add(gdstk.Reference(ls_conn_m4m5m6m7, (26.65,1.25), rotation=pi, x_reflection=True))
lsmitll_merge_v2p1.add(gdstk.Reference(ls_conn_m4m5m6m7, (6.65,0.25), rotation=pi, x_reflection=True))
lsmitll_merge_v2p1.add(gdstk.Reference(ls_conn_m4m5m6m7, (1.65,3.35), rotation=pi/2))
lsmitll_merge_v2p1.add(gdstk.Reference(ls_fakejj_1p5x1p5um, (10,20)))
lsmitll_merge_v2p1.add(gdstk.Reference(ls_jj_192_s, (30,24.9)))
lsmitll_merge_v2p1.add(gdstk.Reference(ls_jj_250_sg, (25.2,25), rotation=pi))
lsmitll_merge_v2p1.add(gdstk.Reference(ls_fakejj_1p5x1p5um, (10,30)))
lsmitll_merge_v2p1.add(gdstk.Reference(ls_conn_m4m5m6m7, (26.65,28.05), rotation=pi, x_reflection=True))
lsmitll_merge_v2p1.add(gdstk.Reference(ls_conn_m4m5m6m7, (21.55,13.35), rotation=pi/2))
lsmitll_merge_v2p1.add(gdstk.Reference(ls_conn_m4m5m6m7, (66.65,28.15), rotation=pi, x_reflection=True))
lsmitll_merge_v2p1.add(gdstk.Reference(ls_tr_m0, (50,10)))
lsmitll_merge_v2p1.add(gdstk.Reference(ls_tr_m0, (50,0)))
lsmitll_merge_v2p1.add(gdstk.Reference(ls_tr_m0, (40,0)))
lsmitll_merge_v2p1.add(gdstk.Reference(ls_fakejj_3umx3um, (65,25)))
lsmitll_merge_v2p1.add(gdstk.Reference(ls_tr_m0, (60,20)))
lsmitll_merge_v2p1.add(gdstk.Reference(ls_jj_250_sg, (44.8,25), x_reflection=True))
lsmitll_merge_v2p1.add(gdstk.Reference(ls_jj_192_s, (40,24.9), rotation=pi, x_reflection=True))
lsmitll_merge_v2p1.add(gdstk.Reference(ls_tr_m0, (50,20)))
lsmitll_merge_v2p1.add(gdstk.Reference(ls_tr_m0, (60,10)))
lsmitll_merge_v2p1.add(gdstk.Reference(ls_conn_m4m5m6m7, (60.7,13.35), rotation=pi/2))
lsmitll_merge_v2p1.add(gdstk.Reference(ls_conn_m4m5m6m7, (50.7,13.35), rotation=pi/2))
lsmitll_merge_v2p1.add(gdstk.Reference(ls_conn_m4m5m6m7, (41.55,13.35), rotation=pi/2))
lsmitll_merge_v2p1.add(gdstk.Reference(ls_conn_m4m5m6m7, (53.35,18.45)))
lsmitll_merge_v2p1.add(gdstk.Reference(ls_tr_u_m4_alt, (60,0)))
lsmitll_merge_v2p1.add(gdstk.Reference(ls_tr_u_m4_alt, (50,0)))
lsmitll_merge_v2p1.add(gdstk.Reference(ls_tr_u_m4_alt, (40,0)))
lsmitll_merge_v2p1.add(gdstk.Reference(ls_fakejj_1p5x1p5um, (40,10)))
lsmitll_merge_v2p1.add(gdstk.Reference(ls_fakejj_1p5x1p5um, (50,10)))
lsmitll_merge_v2p1.add(gdstk.Reference(ls_fakejj_1p5x1p5um, (60,10)))
lsmitll_merge_v2p1.add(gdstk.Reference(ls_fakejj_3umx3um, (45,5)))
lsmitll_merge_v2p1.add(gdstk.Reference(ls_fakejj_3umx3um, (55,5)))
lsmitll_merge_v2p1.add(gdstk.Reference(ls_fakejj_3umx3um, (65,5)))
lsmitll_merge_v2p1.add(gdstk.Reference(ls_conn_m4m5m6m7, (63.35,31.25)))
lsmitll_merge_v2p1.add(gdstk.Reference(ls_conn_m4m5m6m7, (40.7,3.35), rotation=pi/2))
lsmitll_merge_v2p1.add(gdstk.Reference(ls_conn_m4m5m6m7, (50.7,3.35), rotation=pi/2))
lsmitll_merge_v2p1.add(gdstk.Reference(ls_conn_m4m5m6m7, (60.7,3.35), rotation=pi/2))
lsmitll_merge_v2p1.add(gdstk.Reference(ls_conn_m4m5m6m7, (66.65,9.3), rotation=pi, x_reflection=True))
lsmitll_merge_v2p1.add(gdstk.Reference(ls_conn_m4m5m6m7, (56.65,9.3), rotation=pi, x_reflection=True))
lsmitll_merge_v2p1.add(gdstk.Reference(ls_conn_m4m5m6m7, (46.65,9.3), rotation=pi, x_reflection=True))
lsmitll_merge_v2p1.add(gdstk.Reference(ls_conn_m4m5m6m7, (53.35,21.25)))
lsmitll_merge_v2p1.add(gdstk.Reference(ls_fakejj_1p5x1p5um, (60,20)))
lsmitll_merge_v2p1.add(gdstk.Reference(ls_conn_m4m5m6m7, (59.45,23.35), rotation=pi/2))
lsmitll_merge_v2p1.add(gdstk.Reference(ls_fakejj_1p5x1p5um, (50,20)))
lsmitll_merge_v2p1.add(gdstk.Reference(ls_tr_u_m4_alt, (40,20)))
lsmitll_merge_v2p1.add(gdstk.Reference(ls_tr_u_m4_alt, (40,10)))
lsmitll_merge_v2p1.add(gdstk.Reference(ls_tr_u_m4_alt, (50,10)))
lsmitll_merge_v2p1.add(gdstk.Reference(ls_tr_u_m4_alt, (50,20)))
lsmitll_merge_v2p1.add(gdstk.Reference(ls_conn_m4m5m6m7, (43.35,28.05)))
lsmitll_merge_v2p1.add(gdstk.Reference(ls_conn_m4m5m6m7, (38.75,13.35), rotation=pi/2))
lsmitll_merge_v2p1.add(gdstk.Reference(ls_fakejj_1p5x1p5um, (40,20)))
lsmitll_merge_v2p1.add(gdstk.Reference(ls_tr_m0, (40,20)))
lsmitll_merge_v2p1.add(gdstk.Reference(ls_fakejj_3umx3um, (65,15)))
lsmitll_merge_v2p1.add(gdstk.Reference(ls_fakejj_3umx3um, (55,15)))
lsmitll_merge_v2p1.add(gdstk.Reference(ls_fakejj_3umx3um, (45,15)))
lsmitll_merge_v2p1.add(gdstk.Reference(ls_tr_m0, (40,10)))
lsmitll_merge_v2p1.add(gdstk.Reference(ls_tr_u_m4_alt, (60,20)))
lsmitll_merge_v2p1.add(gdstk.Reference(ls_tr_u_m4_alt, (60,10)))
lsmitll_merge_v2p1.add(gdstk.Reference(ls_fakejj_1p5x1p5um, (50,30)))
lsmitll_merge_v2p1.add(gdstk.Reference(ls_fakejj_1p5x1p5um, (60,30)))
lsmitll_merge_v2p1.add(gdstk.Reference(ls_conn_m4m5m6m7, (66.65,19.3), rotation=pi, x_reflection=True))
lsmitll_merge_v2p1.add(gdstk.Reference(ls_tr_m0, (60,0)))
lsmitll_merge_v2p1.add(gdstk.Label('bias_out', (70,65), layer=182, texttype=0))
lsmitll_merge_v2p1.add(gdstk.Label('bias_in', (0,65), layer=182, texttype=0))
lsmitll_merge_v2p1.add(gdstk.Label('Q', (35,70), layer=182, texttype=0))
lsmitll_merge_v2p1.add(gdstk.Label('b', (70,35), layer=182, texttype=0))
lsmitll_merge_v2p1.add(gdstk.Label('a', (0,35), layer=182, texttype=0))
lsmitll_merge_v2p1.add(gdstk.Label('PB5 M6 M4', (40.08,55), layer=182, texttype=0))
lsmitll_merge_v2p1.add(gdstk.Label('PB4 M6 M4', (18.57,45.02), layer=182, texttype=0))
lsmitll_merge_v2p1.add(gdstk.Label('PB3 M6 M4', (35,21.45), layer=182, texttype=0))
lsmitll_merge_v2p1.add(gdstk.Label('PB2 M6 M4', (54.97,40.53), layer=182, texttype=0))
lsmitll_merge_v2p1.add(gdstk.Label('PB1 M6 M4', (11.88,5), layer=182, texttype=0))
lsmitll_merge_v2p1.add(gdstk.Label('J8 M6 M5', (35,55), layer=182, texttype=0))
lsmitll_merge_v2p1.add(gdstk.Label('J7 M6 M5', (25,45), layer=182, texttype=0))
lsmitll_merge_v2p1.add(gdstk.Label('J6 M6 M5', (40,24.9), layer=182, texttype=0))
lsmitll_merge_v2p1.add(gdstk.Label('J5 M6 M5', (44.8,25), layer=182, texttype=0))
lsmitll_merge_v2p1.add(gdstk.Label('J4 M6 M5', (55,35), layer=182, texttype=0))
lsmitll_merge_v2p1.add(gdstk.Label('J3 M6 M5', (30,24.9), layer=182, texttype=0))
lsmitll_merge_v2p1.add(gdstk.Label('J2 M6 M5', (25.2,25), layer=182, texttype=0))
lsmitll_merge_v2p1.add(gdstk.Label('J1 M6 M5', (15,35), layer=182, texttype=0))
lsmitll_merge_v2p1.add(gdstk.Label('P3 M6 M4', (35,70), layer=182, texttype=0))
lsmitll_merge_v2p1.add(gdstk.Label('P2 M6 M4', (70,35), layer=182, texttype=0))
lsmitll_merge_v2p1.add(gdstk.Label('P1 M6 M4', (0,35), layer=182, texttype=0))
lsmitll_merge_v2p1.add(gdstk.Label('VDD', (1.525,65), layer=1, texttype=1))
lsmitll_merge_v2p1.add(gdstk.Label('GND', (5,68.4), layer=40, texttype=1))
lsmitll_merge_v2p1.add(gdstk.Label('RB1', (15.025,37.95), layer=52, texttype=1))
lsmitll_merge_v2p1.add(gdstk.Label('RB2', (25.225,22.1), layer=52, texttype=1))
lsmitll_merge_v2p1.add(gdstk.Label('RB3', (30.025,27.975), layer=52, texttype=1))
lsmitll_merge_v2p1.add(gdstk.Label('RB4', (52.125,35.075), layer=52, texttype=1))
lsmitll_merge_v2p1.add(gdstk.Label('RB5', (44.8,22.05), layer=52, texttype=1))
lsmitll_merge_v2p1.add(gdstk.Label('RB6', (40.05,27.95), layer=52, texttype=1))
lsmitll_merge_v2p1.add(gdstk.Label('RB7', (25.025,42.125), layer=52, texttype=1))
lsmitll_merge_v2p1.add(gdstk.Label('RB8', (35,52.1), layer=52, texttype=1))
lsmitll_merge_v2p1.add(gdstk.Label('RIB1', (16.275,4.95), layer=52, texttype=1))
lsmitll_merge_v2p1.add(gdstk.Label('RIB2', (55,44.725), layer=52, texttype=1))
lsmitll_merge_v2p1.add(gdstk.Label('RIB3', (34.975,18.425), layer=52, texttype=1))
lsmitll_merge_v2p1.add(gdstk.Label('RIB4', (14.375,44.975), layer=52, texttype=1))
lsmitll_merge_v2p1.add(gdstk.Label('RIB5', (44.725,55), layer=52, texttype=1))
lsmitll_merge_v2p1.add(gdstk.Label('a', (0.05,34.075), layer=60, texttype=1))
lsmitll_merge_v2p1.add(gdstk.Label('q', (34.075,69.95), layer=60, texttype=1))
lsmitll_merge_v2p1.add(gdstk.Label('b', (69.95,34.075), layer=60, texttype=1))

lib.write_gds('LSmitll_MERGE_v2p1.gds')
